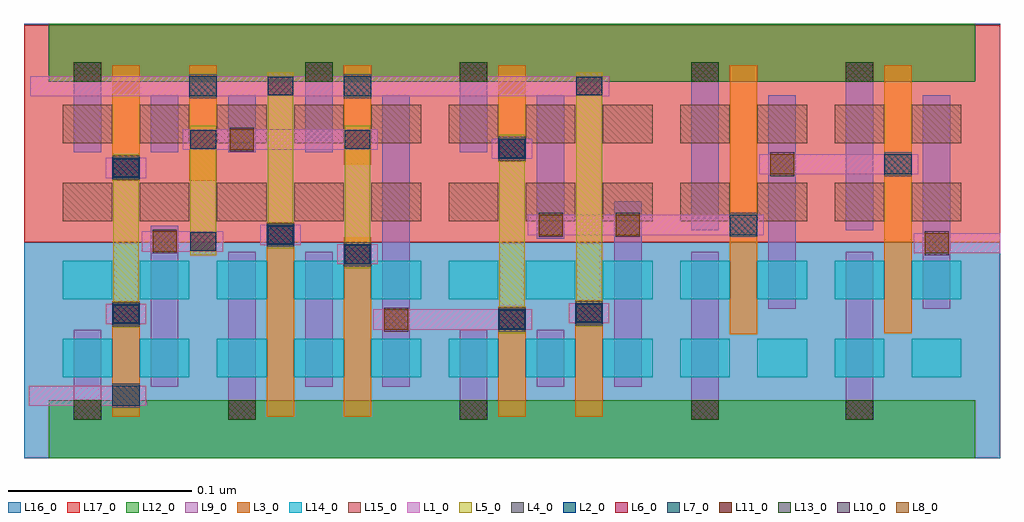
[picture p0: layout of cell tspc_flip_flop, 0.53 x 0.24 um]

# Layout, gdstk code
import gdstk
lib = gdstk.Library(unit=1e-6, precision=2.5e-10)
def R(c, l, rs):  # rectangles x0, y0, x1, y1
    for r in rs: c.add(gdstk.rectangle(r[:2], r[2:], *l))
def A(c, l, x, y, w, h, nx, ny, dx, dy):  # array of equal rectangles
    R(c, l, [(x+i*dx, y+j*dy, x+i*dx+w, y+j*dy+h) for i in range(nx) for j in range(ny)])
L1_0 = (1, 0)
L2_0 = (2, 0)
L3_0 = (3, 0)
L4_0 = (4, 0)
L5_0 = (5, 0)
L6_0 = (6, 0)
L7_0 = (7, 0)
L8_0 = (8, 0)
L9_0 = (9, 0)
L10_0 = (10, 0)
L11_0 = (11, 0)
L12_0 = (12, 0)
L13_0 = (13, 0)
L14_0 = (14, 0)
L15_0 = (15, 0)
L16_0 = (16, 0)
L17_0 = (17, 0)

tspc_flip_flop = lib.new_cell('tspc_flip_flop')
R(tspc_flip_flop, L1_0, [(0.3915,0.2045,0.4555,0.2155), (0.579,0.246,0.6655,0.257), (0.4335,0.249,0.4555,0.26), (0.6855,0.2495,0.7075,0.2605), (0.5595,0.2815,0.5815,0.2925), (0.873,0.2875,0.92,0.2985), (0.453,0.2885,0.4975,0.2995), (0.5175,0.292,0.5395,0.303), (0.663,0.2975,0.7915,0.3085), (0.4335,0.3285,0.4555,0.3395), (0.789,0.3305,0.8755,0.3415), (0.6435,0.339,0.6655,0.35), (0.4755,0.344,0.5815,0.355), (0.3925,0.373,0.7075,0.384)])
R(tspc_flip_flop, L2_0, [(0.437,0.2045,0.452,0.2155), (0.647,0.246,0.662,0.257), (0.437,0.249,0.452,0.26), (0.689,0.2495,0.704,0.2605), (0.563,0.2815,0.578,0.2925), (0.521,0.292,0.536,0.303), (0.773,0.2975,0.788,0.3085), (0.437,0.3285,0.452,0.3395), (0.857,0.3305,0.872,0.3415), (0.647,0.339,0.662,0.35), (0.479,0.373,0.494,0.384), (0.563,0.373,0.578,0.384)])
R(tspc_flip_flop, L3_0, [(0.437,0.1985,0.452,0.2615), (0.521,0.1985,0.536,0.3045), (0.563,0.1985,0.578,0.296), (0.647,0.1985,0.662,0.2585), (0.689,0.1985,0.704,0.262), (0.773,0.2435,0.788,0.39), (0.857,0.244,0.872,0.39), (0.437,0.327,0.452,0.39), (0.479,0.327,0.494,0.39), (0.563,0.336,0.578,0.39), (0.647,0.3375,0.662,0.39)])
R(tspc_flip_flop, L4_0, [(0.437,0.2035,0.452,0.2165), (0.647,0.245,0.662,0.258), (0.437,0.248,0.452,0.261), (0.689,0.2485,0.704,0.2615), (0.563,0.2805,0.578,0.2935), (0.521,0.291,0.536,0.304), (0.773,0.2965,0.788,0.3095), (0.437,0.3275,0.452,0.3405), (0.857,0.3295,0.872,0.3425), (0.647,0.338,0.662,0.351), (0.479,0.372,0.494,0.385), (0.563,0.372,0.578,0.385)])
R(tspc_flip_flop, L5_0, [(0.6475,0.244,0.6615,0.352), (0.4375,0.247,0.4515,0.3415), (0.6895,0.2475,0.7035,0.386), (0.5635,0.2795,0.5775,0.357), (0.4795,0.2865,0.4935,0.357), (0.5215,0.29,0.5355,0.386)])
R(tspc_flip_flop, L6_0, [(0.6475,0.2465,0.6615,0.2565), (0.4375,0.2495,0.4515,0.2595), (0.6895,0.25,0.7035,0.26), (0.5635,0.282,0.5775,0.292), (0.4795,0.289,0.4935,0.299), (0.5215,0.2925,0.5355,0.3025), (0.4375,0.329,0.4515,0.339), (0.6475,0.3395,0.6615,0.3495), (0.4795,0.3445,0.4935,0.3545), (0.5635,0.3445,0.5775,0.3545), (0.5215,0.3735,0.5355,0.3835), (0.6895,0.3735,0.7035,0.3835)])
R(tspc_flip_flop, L7_0, [(0.6475,0.2465,0.6615,0.2565), (0.4375,0.2495,0.4515,0.2595), (0.6895,0.25,0.7035,0.26), (0.5635,0.282,0.5775,0.292), (0.4795,0.289,0.4935,0.299), (0.5215,0.2925,0.5355,0.3025), (0.4375,0.329,0.4515,0.339), (0.6475,0.3395,0.6615,0.3495), (0.4795,0.3445,0.4935,0.3545), (0.5635,0.3445,0.5775,0.3545), (0.5215,0.3735,0.5355,0.3835), (0.6895,0.3735,0.7035,0.3835)])
R(tspc_flip_flop, L8_0, [(0.585,0.246,0.598,0.257), (0.879,0.2875,0.892,0.2985), (0.459,0.2885,0.472,0.2995), (0.669,0.2975,0.682,0.3085), (0.711,0.2975,0.724,0.3085), (0.795,0.3305,0.808,0.3415), (0.501,0.344,0.514,0.355)])
R(tspc_flip_flop, L9_0, [(0.416,0.197,0.431,0.246), (0.5,0.197,0.515,0.2885), (0.626,0.197,0.641,0.246), (0.752,0.197,0.767,0.2885), (0.836,0.197,0.851,0.2885), (0.458,0.215,0.473,0.3025), (0.542,0.215,0.557,0.2885), (0.584,0.215,0.599,0.3735), (0.668,0.215,0.683,0.246), (0.71,0.215,0.725,0.316), (0.794,0.2575,0.809,0.3735), (0.878,0.2575,0.893,0.3735), (0.668,0.2955,0.683,0.3735), (0.752,0.3,0.767,0.3915), (0.836,0.3,0.851,0.3915), (0.416,0.3425,0.431,0.3915), (0.458,0.3425,0.473,0.3735), (0.5,0.3425,0.515,0.3735), (0.542,0.3425,0.557,0.3915), (0.626,0.3425,0.641,0.3915)])
R(tspc_flip_flop, L10_0, [(0.585,0.245,0.598,0.258), (0.879,0.2865,0.892,0.2995), (0.459,0.2875,0.472,0.3005), (0.669,0.2965,0.682,0.3095), (0.711,0.2965,0.724,0.3095), (0.795,0.3295,0.808,0.3425), (0.501,0.343,0.514,0.356)])
A(tspc_flip_flop, L11_0, 0.5, 0.197, 0.015, 0.0105, 3, 1, 0.126, 0)
R(tspc_flip_flop, L11_0, [(0.416,0.197,0.431,0.2075), (0.836,0.197,0.851,0.2075), (0.416,0.381,0.431,0.3915), (0.542,0.381,0.557,0.3915), (0.626,0.381,0.641,0.3915), (0.752,0.381,0.767,0.3915), (0.836,0.381,0.851,0.3915)])
R(tspc_flip_flop, L12_0, [(0.4025,0.176,0.9065,0.2075), (0.4025,0.381,0.9065,0.4125)])
A(tspc_flip_flop, L13_0, 0.5, 0.197, 0.015, 0.0105, 3, 1, 0.126, 0)
R(tspc_flip_flop, L13_0, [(0.416,0.197,0.431,0.2075), (0.836,0.197,0.851,0.2075), (0.416,0.381,0.431,0.3915), (0.542,0.381,0.557,0.3915), (0.626,0.381,0.641,0.3915), (0.752,0.381,0.767,0.3915), (0.836,0.381,0.851,0.3915)])
A(tspc_flip_flop, L14_0, 0.41, 0.22, 0.027, 0.021, 12, 2, 0.042, 0.0425)
A(tspc_flip_flop, L15_0, 0.41, 0.305, 0.027, 0.021, 12, 2, 0.042, 0.0425)
R(tspc_flip_flop, L16_0, [(0.389,0.176,0.92,0.2935), (0.389,0.4115,0.92,0.4125)])
R(tspc_flip_flop, L17_0, [(0.389,0.2935,0.92,0.4115)])

lib.write_gds('tspc_flip_flop.gds')
